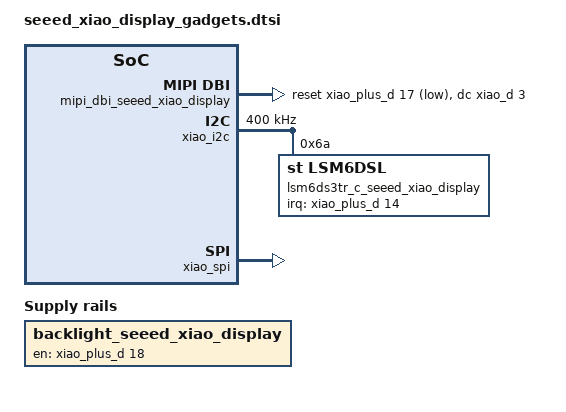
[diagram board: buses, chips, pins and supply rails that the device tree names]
/*
 * SPDX-FileCopyrightText: Copyright The Zephyr Project Contributors
 * SPDX-License-Identifier: Apache-2.0
 *
 * Common part of the XIAO display boards (0.96", 1.14" and 1.47").
 */

#include <freq.h>
#include <zephyr/dt-bindings/display/panel.h>
#include <zephyr/dt-bindings/i2c/i2c.h>
#include <zephyr/dt-bindings/input/input-event-codes.h>

/ {
	aliases {
		accel0 = &lsm6ds3tr_c_seeed_xiao_display;
	};

	/* The backlight stays off until D18 is driven high */
	backlight_seeed_xiao_display: backlight {
		compatible = "regulator-fixed";
		regulator-name = "backlight";
		enable-gpios = <&xiao_plus_d 18 GPIO_ACTIVE_HIGH>;
		regulator-boot-on;
	};

	mipi_dbi_seeed_xiao_display: mipi-dbi {
		compatible = "zephyr,mipi-dbi-spi";
		spi-dev = <&xiao_spi>;
		dc-gpios = <&xiao_d 3 GPIO_ACTIVE_HIGH>;
		reset-gpios = <&xiao_plus_d 17 GPIO_ACTIVE_LOW>;
		write-only;
		#address-cells = <1>;
		#size-cells = <0>;
	};
};

/* D6 and D7 are used by the display boards */
&xiao_serial {
	status = "disabled";
};

&xiao_i2c {
	status = "okay";
	clock-frequency = <I2C_BITRATE_FAST>;

	lsm6ds3tr_c_seeed_xiao_display: lsm6ds3tr-c@6a {
		compatible = "st,lsm6dsl";
		reg = <0x6a>;
		irq-gpios = <&xiao_plus_d 14 GPIO_ACTIVE_HIGH>;
	};
};

&xiao_spi {
	status = "okay";
	cs-gpios = <&xiao_d 2 GPIO_ACTIVE_LOW>;
};
